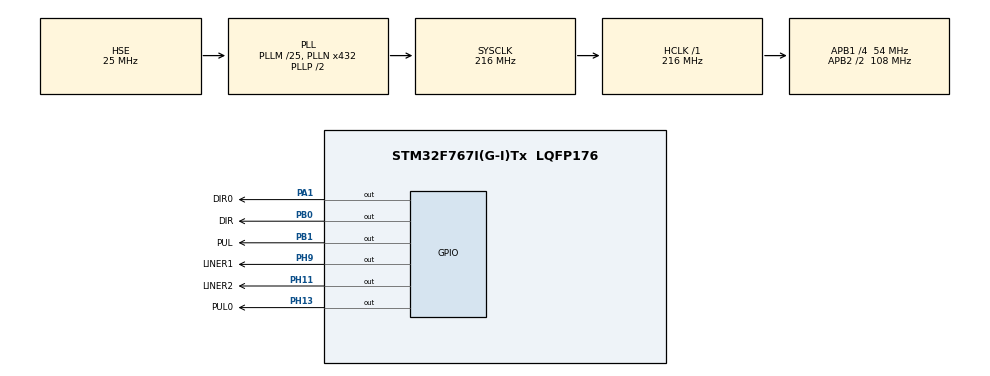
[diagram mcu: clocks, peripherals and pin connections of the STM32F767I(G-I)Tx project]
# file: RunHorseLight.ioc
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Mcu.Family=STM32F7
Mcu.Name=STM32F767I(G-I)Tx
Mcu.Package=LQFP176
NVIC.PriorityGroup=NVIC_PRIORITYGROUP_4
PA1.GPIO_Label=DIR0
PA1.GPIO_ModeDefaultOutputPP=GPIO_MODE_OUTPUT_PP
PA1.GPIO_PuPd=GPIO_PULLUP
PA1.GPIO_Speed=GPIO_SPEED_FREQ_MEDIUM
PA1.PinState=GPIO_PIN_SET
PA1.Signal=GPIO_Output
PB0.GPIO_Label=DIR
PB0.GPIO_PuPd=GPIO_PULLUP
PB0.GPIO_Speed=GPIO_SPEED_FREQ_HIGH
PB0.Signal=GPIO_Output
PB1.GPIO_Label=PUL
PB1.GPIO_PuPd=GPIO_PULLUP
PB1.GPIO_Speed=GPIO_SPEED_FREQ_HIGH
PB1.Signal=GPIO_Output
PC14/OSC32_IN.Mode=LSE-External-Oscillator
PC14/OSC32_IN.Signal=RCC_OSC32_IN
PC15/OSC32_OUT.Mode=LSE-External-Oscillator
PC15/OSC32_OUT.Signal=RCC_OSC32_OUT
PH0/OSC_IN.Mode=HSE-External-Oscillator
PH0/OSC_IN.Signal=RCC_OSC_IN
PH1/OSC_OUT.Mode=HSE-External-Oscillator
PH1/OSC_OUT.Signal=RCC_OSC_OUT
PH11.GPIO_Label=LINER2
PH11.GPIO_ModeDefaultOutputPP=GPIO_MODE_OUTPUT_PP
PH11.GPIO_PuPd=GPIO_PULLUP
PH11.GPIO_Speed=GPIO_SPEED_FREQ_MEDIUM
PH11.PinState=GPIO_PIN_SET
PH11.Signal=GPIO_Output
PH13.GPIO_Label=PUL0
PH13.GPIO_ModeDefaultOutputPP=GPIO_MODE_OUTPUT_PP
PH13.GPIO_PuPd=GPIO_PULLUP
PH13.GPIO_Speed=GPIO_SPEED_FREQ_VERY_HIGH
PH13.PinState=GPIO_PIN_SET
PH13.Signal=GPIO_Output
PH9.GPIO_Label=LINER1
PH9.GPIO_ModeDefaultOutputPP=GPIO_MODE_OUTPUT_PP
PH9.GPIO_PuPd=GPIO_PULLUP
PH9.GPIO_Speed=GPIO_SPEED_FREQ_MEDIUM
PH9.PinState=GPIO_PIN_SET
PH9.Signal=GPIO_Output
ProjectManager.HeapSize=0x200
ProjectManager.StackSize=0x400
ProjectManager.TargetToolchain=STM32CubeIDE
RCC.AHBFreq_Value=216000000
RCC.APB1CLKDivider=RCC_HCLK_DIV4
RCC.APB1Freq_Value=54000000
RCC.APB1TimFreq_Value=108000000
RCC.APB2CLKDivider=RCC_HCLK_DIV2
RCC.APB2Freq_Value=108000000
RCC.APB2TimFreq_Value=216000000
RCC.CortexFreq_Value=216000000
RCC.HCLKFreq_Value=216000000
RCC.HSE_VALUE=25000000
RCC.HSI_VALUE=16000000
RCC.PLLM=25
RCC.PLLN=432
RCC.PLLSourceVirtual=RCC_PLLSOURCE_HSE
RCC.SYSCLKFreq_VALUE=216000000
RCC.SYSCLKSource=RCC_SYSCLKSOURCE_PLLCLK
RCC.USBFreq_Value=216000000
RCC.VCOOutputFreq_Value=432000000
board=custom

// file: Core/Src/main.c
/* USER CODE BEGIN Header */
/**
  ******************************************************************************
  * @file           : main.c
  * @brief          : Main program body
  ******************************************************************************
  * @attention
  *
  * Copyright (c) 2022 STMicroelectronics.
  * All rights reserved.
  *
  * This software is licensed under terms that can be found in the LICENSE file
  * in the root directory of this software component.
  * If no LICENSE file comes with this software, it is provided AS-IS.
  *
  ******************************************************************************
  */
/* USER CODE END Header */
#include "main.h"
#include "gpio.h"

void SystemClock_Config(void);

/* USER CODE BEGIN 0 */
void PULS(int n)
{
	for (int i=1;i<=2*n;i++)
	{
		HAL_GPIO_TogglePin(PUL_GPIO_Port, PUL_Pin);
		HAL_Delay(1);
		/* 1 */
	}

}
/* USER CODE END 0 */

int main(void)
{

  /* MCU Configuration--------------------------------------------------------*/

  /* Reset of all peripherals, Initializes the Flash interface and the Systick. */
  HAL_Init();

  /* Configure the system clock */
  SystemClock_Config();

  /* Initialize all configured peripherals */
  MX_GPIO_Init();
  /* USER CODE BEGIN 2 */
  /* HAL_GPIO_WritePin(LED1_GPIO_Port, LED1_Pin, GPIO_PIN_RESET);
  HAL_GPIO_WritePin(LED2_GPIO_Port, LED2_Pin, GPIO_PIN_RESET);*/

  HAL_GPIO_WritePin(DIR_GPIO_Port, DIR_Pin, GPIO_PIN_RESET);
  HAL_Delay(1);
  HAL_GPIO_TogglePin(DIR_GPIO_Port,DIR_Pin);
  HAL_Delay(1);
  HAL_GPIO_WritePin(PUL_GPIO_Port, PUL_Pin, GPIO_PIN_RESET);
  /*60 divide 1.8 into 133 */

  /* USER CODE END 2 */

  /* Infinite loop */
  /* USER CODE BEGIN WHILE */
  while (1)
  {
	  HAL_Delay(3000);
	  PULS(133);
	  HAL_Delay(10000);
	  /*HAL_GPIO_TogglePin(DIR_GPIO_Port,DIR_Pin); */
	  PULS(133);
	  HAL_Delay(2000);
	  PULS(133);
	  HAL_Delay(2000);
	  HAL_GPIO_TogglePin(DIR_GPIO_Port,DIR_Pin);
	  PULS(133);
	  HAL_Delay(20000);

	  /*
	  HAL_GPIO_TogglePin(LED0_GPIO_Port,LED0_Pin);
	  HAL_Delay(1000);
	  HAL_GPIO_TogglePin(LED1_GPIO_Port,LED1_Pin);
	  HAL_Delay(1000);
	  */
    /* USER CODE END WHILE */

  }
}

void SystemClock_Config(void)
{
  RCC_OscInitTypeDef RCC_OscInitStruct = {0};
  RCC_ClkInitTypeDef RCC_ClkInitStruct = {0};

  /** Configure LSE Drive Capability
  */
  HAL_PWR_EnableBkUpAccess();

  /** Configure the main internal regulator output voltage
  */
  __HAL_RCC_PWR_CLK_ENABLE();
  __HAL_PWR_VOLTAGESCALING_CONFIG(PWR_REGULATOR_VOLTAGE_SCALE1);

  /** Initializes the RCC Oscillators according to the specified parameters
  * in the RCC_OscInitTypeDef structure.
  */
  RCC_OscInitStruct.OscillatorType = RCC_OSCILLATORTYPE_HSE;
  RCC_OscInitStruct.HSEState = RCC_HSE_ON;
  RCC_OscInitStruct.PLL.PLLState = RCC_PLL_ON;
  RCC_OscInitStruct.PLL.PLLSource = RCC_PLLSOURCE_HSE;
  RCC_OscInitStruct.PLL.PLLM = 25;
  RCC_OscInitStruct.PLL.PLLN = 432;
  RCC_OscInitStruct.PLL.PLLP = RCC_PLLP_DIV2;
  RCC_OscInitStruct.PLL.PLLQ = 2;
  RCC_OscInitStruct.PLL.PLLR = 2;
  if (HAL_RCC_OscConfig(&RCC_OscInitStruct) != HAL_OK)
  {
    Error_Handler();
  }

  /** Activate the Over-Drive mode
  */
  if (HAL_PWREx_EnableOverDrive() != HAL_OK)
  {
    Error_Handler();
  }

  /** Initializes the CPU, AHB and APB buses clocks
  */
  RCC_ClkInitStruct.ClockType = RCC_CLOCKTYPE_HCLK|RCC_CLOCKTYPE_SYSCLK
                              |RCC_CLOCKTYPE_PCLK1|RCC_CLOCKTYPE_PCLK2;
  RCC_ClkInitStruct.SYSCLKSource = RCC_SYSCLKSOURCE_PLLCLK;
  RCC_ClkInitStruct.AHBCLKDivider = RCC_SYSCLK_DIV1;
  RCC_ClkInitStruct.APB1CLKDivider = RCC_HCLK_DIV4;
  RCC_ClkInitStruct.APB2CLKDivider = RCC_HCLK_DIV2;

  if (HAL_RCC_ClockConfig(&RCC_ClkInitStruct, FLASH_LATENCY_7) != HAL_OK)
  {
    Error_Handler();
  }
}

void Error_Handler(void)
{
  __disable_irq();
  while (1)
  {
  }
}
